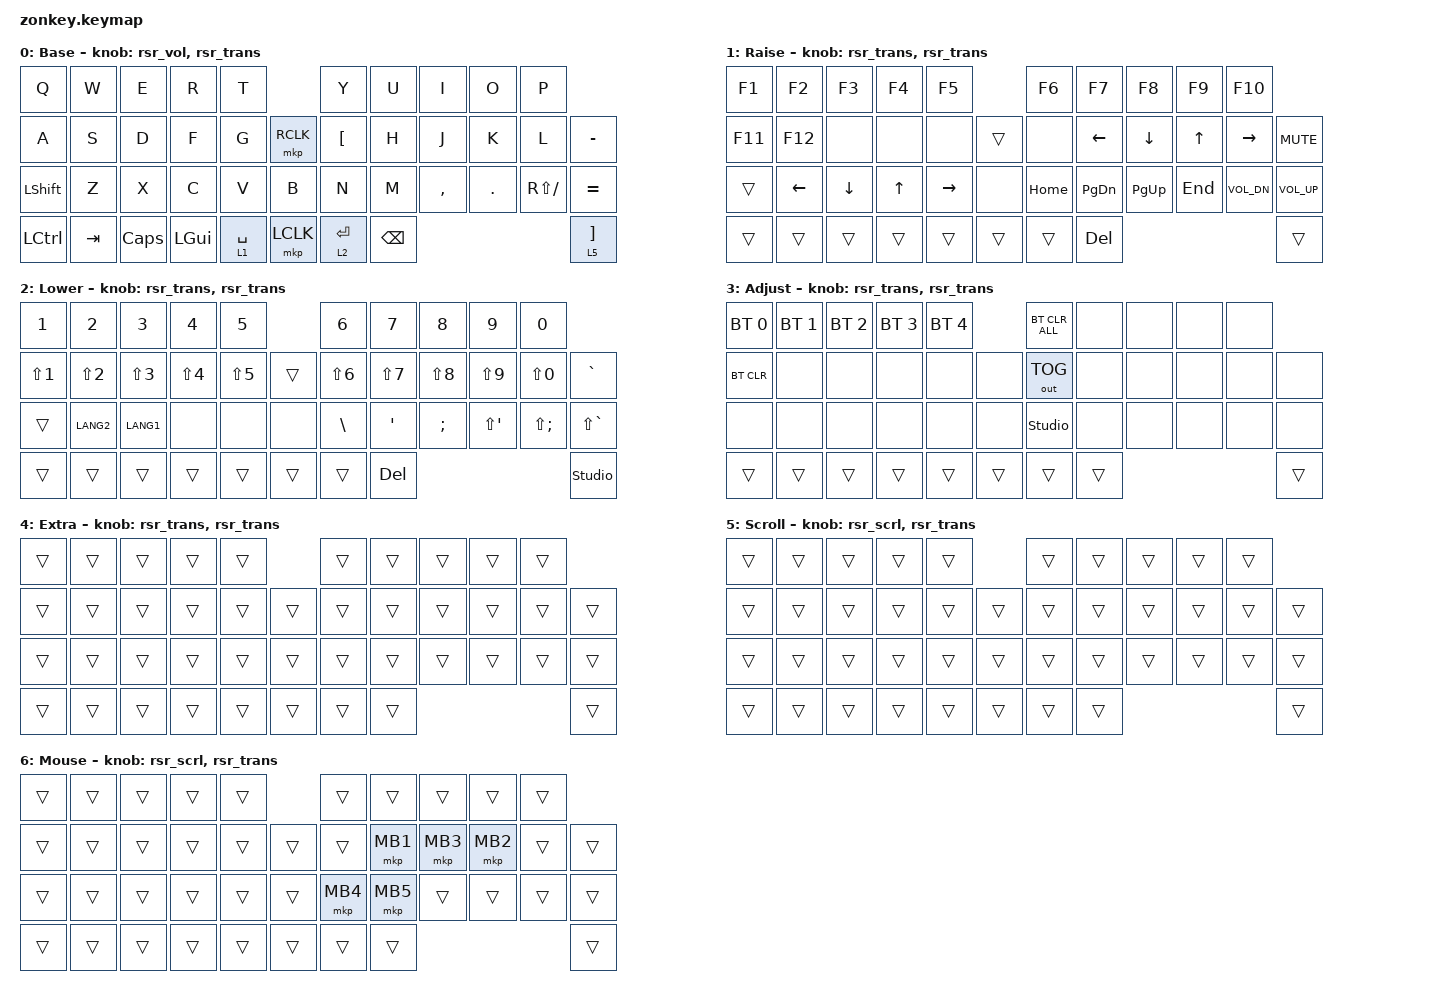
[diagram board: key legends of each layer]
#include <behaviors.dtsi>
#include <dt-bindings/zmk/bt.h>
#include <dt-bindings/zmk/keys.h>
#include <dt-bindings/zmk/pointing.h>
#include <dt-bindings/zmk/outputs.h>
#include <behaviors/runtime-sensor-rotate.dtsi>

/* Redefinition guard for pointing */

#ifdef ZMK_POINTING_DEFAULT_SCRL_VAL
#undef ZMK_POINTING_DEFAULT_SCRL_VAL
#endif

#define ZMK_POINTING_DEFAULT_SCRL_VAL 100
#define MOUSE 6
#define JP_DQUOTE       AT                // "
#define JP_AMPERSAND    CARET             // &
#define JP_QUOTE        AMPERSAND         // '
#define JP_EQUAL        UNDER             // =
#define JP_CARET        EQUAL             // ^
#define JP_YEN          0x89              // ¥
#define JP_PLUS         COLON             // +
#define JP_TILDE        PLUS              // ~
#define JP_PIPE         LS(0x89)          // |
#define JP_AT           LEFT_BRACKET      // @
#define JP_COLON        SINGLE_QUOTE      // :
#define JP_ASTERISK     DOUBLE_QUOTES     // *
#define JP_BACKQUOTE    LEFT_BRACE        // `
#define JP_UNDERSCORE   LS(0x87)          // _
#define JP_LBRACKET     RIGHT_BRACKET     // [
#define JP_RBRACKET     BACKSLASH         // ]
#define JP_LPAREN       ASTERISK          // (
#define JP_RPAREN       LEFT_PARENTHESIS  // )
#define JP_LBRACE       RIGHT_BRACE       // {
#define JP_RBRACE       PIPE              // }
#define JP_KANA         LANGUAGE_1        // かな
#define JP_EISU         LANGUAGE_2        // 英数
#define JP_HANZEN       GRAVE             // 半角/全角
#define JP_BSLH  INT1         // (backslash)

&mt {
    flavor = "balanced";
    quick-tap-ms = <0>;
};

/ {
    combos {
        compatible = "zmk,combos";

        tab {
            bindings = <&kp TAB>;
            key-positions = <0 1>;
        };

        ri {
            bindings = <&kp RIGHT_CONTROL>;
            key-positions = <21 20>;
        };

        l1 {
            bindings = <&kp LANGUAGE_1>;
            key-positions = <1 0>;
        };

        lann {
            bindings = <&kp LANGUAGE_2>;
            key-positions = <11 10>;
        };

        cl {
            bindings = <&kp LEFT_CONTROL>;
            key-positions = <14 13>;
        };
    };

    macros {
        to_layer_0: to_layer_0 {
            compatible = "zmk,behavior-macro-one-param";
            #binding-cells = <1>;
            bindings = <&to 0 &macro_param_1to1 &kp MACRO_PLACEHOLDER>;
            label = "TO_LAYER_0";
        };
    };

    conditional_layers {
        compatible = "zmk,conditional-layers";
        tri_layer {
            if-layers = <1 2>;
            then-layer = <3>;
        };
    };

    behaviors {
        // rotary encoder (editable in DYA Studio; defaults below)
        rsr_vol: rsr_vol {
            compatible = "zmk,behavior-runtime-sensor-rotate";
            #sensor-binding-cells = <0>;
            tap-ms = <5>;
            cw-binding = <&kp C_VOL_UP>;
            ccw-binding = <&kp C_VOL_DN>;
        };
        rsr_scrl: rsr_scrl {
            compatible = "zmk,behavior-runtime-sensor-rotate";
            #sensor-binding-cells = <0>;
            tap-ms = <20>;
            cw-binding = <&msc SCRL_DOWN>;
            ccw-binding = <&msc SCRL_UP>;
        };

        lt_to_layer_0: lt_to_layer_0 {
            compatible = "zmk,behavior-hold-tap";
            label = "LAYER_TAP_TO_0";
            bindings = <&mo>, <&to_layer_0>;

            #binding-cells = <2>;
            tapping-term-ms = <200>;
        };

        scroll_up_down: behavior_sensor_rotate_mouse_wheel_up_down {
            compatible = "zmk,behavior-sensor-rotate";
            #sensor-binding-cells = <0>;
            bindings = <&msc SCRL_DOWN>, <&msc SCRL_UP>;

            tap-ms = <20>;
        };
    };

    keymap {
        compatible = "zmk,keymap";

        default_layer {
            display-name = "Base";
            bindings = <
&kp Q      &kp W   &kp E     &kp R      &kp T                         &kp Y     &kp U  &kp I      &kp O    &kp P
&kp A      &kp S   &kp D     &kp F      &kp G        &mkp RCLK        &kp LBKT  &kp H  &kp J      &kp K    &kp L         &kp MINUS
&kp LSHFT  &kp Z   &kp X     &kp C      &kp V        &kp B            &kp N     &kp M  &kp COMMA  &kp DOT  &kp RS(FSLH)  &kp EQUAL
&kp LCTRL  &kp TAB &kp CAPS  &kp LGUI   &lt 1 SPACE  &mkp LCLK        &lt 2 RET &kp BSPC                                 &lt 5 RBKT
            >;
            sensor-bindings = <&rsr_vol &rsr_trans>;
        };

        layer_1 {
            display-name = "Raise";
            bindings = <
&kp F1    &kp F2    &kp F3     &kp F4   &kp F5                      &kp F6    &kp F7    &kp F8    &kp F9        &kp F10
&kp F11   &kp F12   &none      &none    &none    &trans             &none     &kp LEFT  &kp DOWN  &kp UP        &kp RIGHT     &kp C_MUTE
&trans    &kp LEFT  &kp DOWN   &kp UP   &kp RIGHT &none             &kp HOME  &kp PG_DN &kp PG_UP &kp END       &kp C_VOL_DN  &kp C_VOL_UP
&trans    &trans    &trans     &trans   &trans   &trans             &trans    &kp DEL                                        &trans
            >;
            sensor-bindings = <&rsr_trans &rsr_trans>;
        };

        layer_2 {
            display-name = "Lower";
            bindings = <
&kp N1      &kp N2      &kp N3      &kp N4      &kp N5                           &kp N6      &kp N7      &kp N8      &kp N9      &kp N0
&kp LS(N1)  &kp LS(N2)  &kp LS(N3)  &kp LS(N4)  &kp LS(N5)  &trans               &kp LS(N6)  &kp LS(N7)  &kp LS(N8)  &kp LS(N9)  &kp LS(N0)  &kp GRAVE
&trans      &kp LANG2   &kp LANG1   &none       &none       &none                &kp BSLH    &kp SQT     &kp SEMI    &kp LS(SQT) &kp LS(SEMI) &kp LS(GRAVE)
&trans      &trans      &trans      &trans      &trans      &trans               &trans      &kp DEL                                          &studio_unlock
            >;
            sensor-bindings = <&rsr_trans &rsr_trans>;
        };

        layer_3 {
            display-name = "Adjust";
            bindings = <
&bt BT_SEL 0  &bt BT_SEL 1  &bt BT_SEL 2  &bt BT_SEL 3  &bt BT_SEL 4                    &bt BT_CLR_ALL  &none  &none  &none  &none
&bt BT_CLR    &none         &none         &none         &none         &none             &out OUT_TOG    &none  &none  &none  &none  &none
&none         &none         &none         &none         &none         &none             &studio_unlock  &none  &none  &none  &none  &none
&trans        &trans        &trans        &trans        &trans        &trans            &trans          &trans                      &trans
            >;
            sensor-bindings = <&rsr_trans &rsr_trans>;
        };

        layer_4 {
            display-name = "Extra";
            bindings = <
&trans  &trans  &trans  &trans  &trans                  &trans  &trans  &trans  &trans  &trans
&trans  &trans  &trans  &trans  &trans  &trans          &trans  &trans  &trans  &trans  &trans  &trans
&trans  &trans  &trans  &trans  &trans  &trans          &trans  &trans  &trans  &trans  &trans  &trans
&trans  &trans  &trans  &trans  &trans  &trans          &trans  &trans                          &trans
            >;
            sensor-bindings = <&rsr_trans &rsr_trans>;
        };

        layer_5 {
            display-name = "Scroll";
            bindings = <
&trans  &trans  &trans  &trans  &trans                  &trans  &trans  &trans  &trans  &trans
&trans  &trans  &trans  &trans  &trans  &trans          &trans  &trans  &trans  &trans  &trans  &trans
&trans  &trans  &trans  &trans  &trans  &trans          &trans  &trans  &trans  &trans  &trans  &trans
&trans  &trans  &trans  &trans  &trans  &trans          &trans  &trans                          &trans
            >;
            sensor-bindings = <&rsr_scrl &rsr_trans>;
        };

        layer_6 {
            display-name = "Mouse";
            bindings = <
&trans  &trans  &trans  &trans  &trans                  &trans    &trans    &trans    &trans  &trans
&trans  &trans  &trans  &trans  &trans  &trans          &trans    &mkp MB1  &mkp MB3  &mkp MB2  &trans  &trans
&trans  &trans  &trans  &trans  &trans  &trans          &mkp MB4  &mkp MB5  &trans    &trans  &trans  &trans
&trans  &trans  &trans  &trans  &trans  &trans          &trans    &trans                        &trans
            >;
            sensor-bindings = <&rsr_scrl &rsr_trans>;
        };
    };
};
